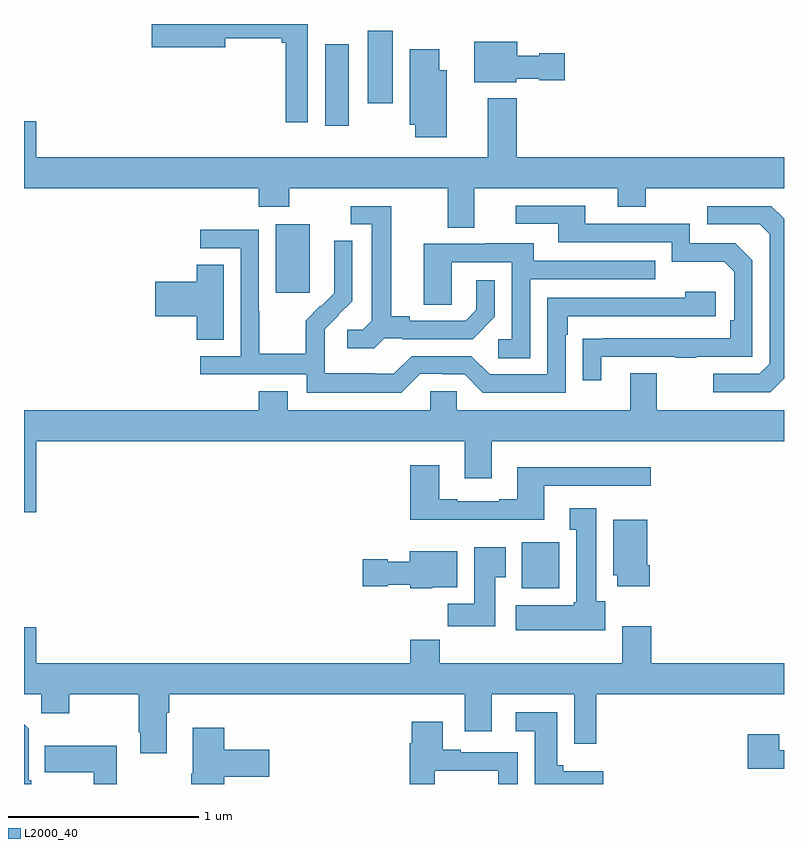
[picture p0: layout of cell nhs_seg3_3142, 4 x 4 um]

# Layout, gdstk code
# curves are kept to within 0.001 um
import gdstk
lib = gdstk.Library(unit=1e-6, precision=1e-09)
def R(c, l, rs):  # rectangles x0, y0, x1, y1
    for r in rs: c.add(gdstk.rectangle(r[:2], r[2:], *l))
def P(c, l, *ps):  # polygons
    for p in ps: c.add(gdstk.Polygon(p, *l))
L2000_40 = (2000, 40)

nhs_seg3_3142 = lib.new_cell('nhs_seg3_3142')
R(nhs_seg3_3142, L2000_40, [(275.621,745.43,275.818,745.672), (274.325,746.985,274.504,747.346), (274.586,747.864,274.708,748.294), (274.808,747.984,274.942,748.364)])
P(nhs_seg3_3142, L2000_40, [(274.494,748.4),(273.672,748.4),(273.672,748.277),(274.06,748.277),(274.06,748.324),(274.357,748.324),(274.357,748.301),(274.378,748.301),(274.378,747.882),(274.494,747.882)],
  [(275.592,748.112),(275.712,748.112),(275.712,748.105),(275.845,748.105),(275.845,748.247),(275.712,748.247),(275.712,748.234),(275.596,748.234),(275.596,748.306),(275.369,748.306),(275.369,748.094),(275.592,748.094)],
  [(275.224,748.156),(275.185,748.156),(275.185,748.267),(275.03,748.267),(275.03,747.869),(275.059,747.869),(275.059,747.804),(275.224,747.804)],
  [(275.371,747.536),(276.125,747.536),(276.125,747.437),(276.273,747.437),(276.273,747.536),(277,747.536),(277,747.7),(275.594,747.7),(275.594,748.009),(275.441,748.009),(275.441,747.7),(273.064,747.7),(273.064,747.889),(273,747.889),(273,747.536),(274.235,747.536),(274.235,747.437),(274.395,747.437),(274.395,747.536),(275.231,747.536),(275.231,747.328),(275.371,747.328)],
  [(276.037,746.649),(276.427,746.649),(276.427,746.644),(276.539,746.644),(276.539,746.649),(276.834,746.649),(276.834,747.156),(276.744,747.246),(276.504,747.246),(276.504,747.348),(275.953,747.348),(275.953,747.444),(275.589,747.444),(275.589,747.348),(275.813,747.348),(275.813,747.252),(276.408,747.252),(276.408,747.149),(276.685,747.149),(276.738,747.096),(276.738,746.842),(276.718,746.842),(276.718,746.745),(275.941,746.744),(275.941,746.526),(276.037,746.526)],
  [(274.896,746.745),(274.99,746.745),(274.99,746.742),(275.362,746.742),(275.478,746.858),(275.478,747.052),(275.381,747.052),(275.381,746.895),(275.324,746.838),(275.029,746.838),(275.029,746.861),(274.933,746.861),(274.933,747.441),(274.719,747.441),(274.719,747.345),(274.829,747.345),(274.829,746.837),(274.782,746.79),(274.701,746.79),(274.701,746.693),(274.844,746.693)],
  [(277,746.536),(277,747.374),(276.933,747.441),(276.597,747.441),(276.597,747.345),(276.873,747.345),(276.924,747.294),(276.924,746.613),(276.87,746.559),(276.627,746.559),(276.627,746.463),(276.927,746.463)],
  [(275.085,746.559),(275.201,746.559),(275.201,746.556),(275.319,746.556),(275.415,746.46),(275.85,746.46),(275.85,746.765),(275.863,746.765),(275.863,746.862),(276.64,746.862),(276.64,746.992),(276.479,746.992),(276.479,746.958),(275.754,746.958),(275.754,746.556),(275.451,746.556),(275.355,746.652),(275.04,746.652),(274.947,746.559),(274.847,746.559),(274.847,746.563),(274.584,746.563),(274.584,746.697),(274.582,746.697),(274.582,746.794),(274.728,746.942),(274.728,747.26),(274.632,747.26),(274.632,747.106),(274.634,747.106),(274.634,746.984),(274.563,746.913),(274.56,746.916),(274.483,746.839),(274.483,746.665),(274.239,746.665),(274.239,746.888),(274.236,746.888),(274.236,747.318),(273.927,747.318),(273.927,747.219),(274.14,747.219),(274.14,746.652),(273.927,746.652),(273.927,746.556),(274.488,746.556),(274.488,746.459),(274.985,746.459)],
  [(275.664,747.057),(276.323,747.057),(276.323,747.153),(275.683,747.153),(275.683,747.247),(275.429,747.247),(275.429,747.243),(275.105,747.243),(275.105,746.923),(275.25,746.923),(275.25,747.147),(275.568,747.147),(275.568,746.742),(275.496,746.742),(275.496,746.641),(275.664,746.641)],
  [(274.051,747.134),(273.908,747.134),(273.908,747.044),(273.69,747.044),(273.69,746.861),(273.908,746.861),(273.908,746.737),(274.051,746.737)],
  [(273.064,746.204),(275.321,746.204),(275.321,746.01),(275.461,746.01),(275.461,746.204),(277,746.204),(277,746.368),(276.331,746.368),(276.331,746.563),(276.191,746.563),(276.191,746.368),(275.277,746.368),(275.277,746.466),(275.139,746.466),(275.139,746.368),(274.387,746.368),(274.387,746.467),(274.235,746.467),(274.235,746.368),(273,746.368),(273,745.83),(273.064,745.83)],
  [(275.737,745.971),(276.298,745.971),(276.298,746.068),(275.597,746.068),(275.597,745.9),(275.501,745.9),(275.501,745.887),(275.281,745.887),(275.281,745.9),(275.185,745.9),(275.185,746.077),(275.033,746.077),(275.033,745.79),(275.737,745.79)],
  [(276.058,745.362),(276.013,745.362),(276.013,745.852),(275.873,745.852),(275.873,745.739),(275.906,745.739),(275.906,745.356),(275.893,745.356),(275.893,745.342),(275.589,745.342),(275.589,745.208),(276.058,745.208)],
  [(276.293,745.552),(276.28,745.552),(276.28,745.792),(276.101,745.792),(276.101,745.5),(276.122,745.5),(276.122,745.44),(276.293,745.44)],
  [(275.479,745.489),(275.536,745.489),(275.536,745.645),(275.369,745.645),(275.369,745.348),(275.23,745.348),(275.23,745.23),(275.479,745.23)],
  [(275.148,745.436),(275.281,745.436),(275.281,745.624),(275.03,745.624),(275.03,745.57),(274.914,745.57),(274.914,745.583),(274.782,745.583),(274.782,745.441),(274.914,745.441),(274.914,745.448),(275.034,745.448),(275.034,745.43),(275.148,745.43)],
  [(275.321,744.678),(275.461,744.678),(275.461,744.872),(275.895,744.872),(275.895,744.612),(276.011,744.612),(276.011,744.872),(277,744.872),(277,745.036),(276.302,745.036),(276.302,745.231),(276.149,745.231),(276.149,745.036),(275.189,745.036),(275.189,745.16),(275.033,745.16),(275.033,745.036),(273.064,745.036),(273.064,745.225),(273,745.225),(273,744.872),(273.09,744.872),(273.09,744.773),(273.237,744.773),(273.237,744.872),(273.604,744.872),(273.604,744.673),(273.611,744.673),(273.611,744.561),(273.751,744.561),(273.751,744.776),(273.764,744.776),(273.764,744.872),(275.321,744.872)],
  [(276.049,744.466),(275.837,744.466),(275.837,744.498),(275.806,744.498),(275.806,744.778),(275.589,744.778),(275.589,744.677),(275.687,744.677),(275.687,744.4),(276.049,744.4)],
  [(275.161,744.471),(275.495,744.471),(275.495,744.4),(275.599,744.4),(275.599,744.567),(275.299,744.567),(275.299,744.58),(275.203,744.58),(275.203,744.727),(275.042,744.727),(275.042,744.614),(275.03,744.614),(275.03,744.4),(275.161,744.4)],
  [(273.037,744.421),(273.024,744.421),(273.024,744.69),(273,744.714),(273,744.4),(273.037,744.4)],
  [(274.055,744.437),(274.291,744.437),(274.291,744.579),(274.055,744.579),(274.055,744.697),(273.887,744.697),(273.887,744.453),(273.88,744.453),(273.88,744.4),(274.055,744.4)],
  [(277,744.578),(276.974,744.578),(276.974,744.661),(276.809,744.661),(276.809,744.479),(277,744.479)],
  [(273.487,744.601),(273.109,744.601),(273.109,744.461),(273.366,744.461),(273.366,744.4),(273.487,744.4)])

lib.write_gds('nhs_seg3_3142.gds')
